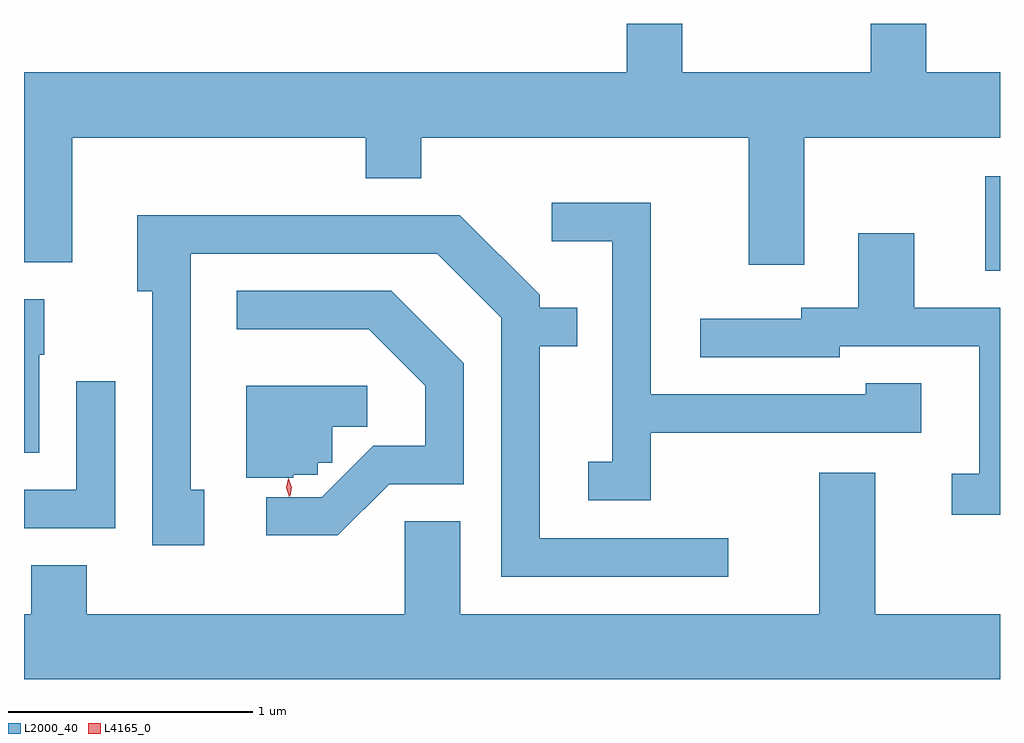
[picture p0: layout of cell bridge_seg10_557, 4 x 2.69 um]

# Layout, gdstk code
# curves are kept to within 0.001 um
import gdstk
lib = gdstk.Library(unit=1e-6, precision=1e-09)
def R(c, l, rs):  # rectangles x0, y0, x1, y1
    for r in rs: c.add(gdstk.rectangle(r[:2], r[2:], *l))
def P(c, l, *ps):  # polygons
    for p in ps: c.add(gdstk.Polygon(p, *l))
L2000_40 = (2000, 40)
L4165_0 = (4165, 0)

bridge_seg10_557 = lib.new_cell('bridge_seg10_557')
R(bridge_seg10_557, L2000_40, [(833.951,2193.291,834.011,2193.679)])
P(bridge_seg10_557, L2000_40, [(833.209,2193.836),(834.011,2193.836),(834.011,2194.104),(833.709,2194.104),(833.709,2194.304),(833.481,2194.304),(833.481,2194.104),(832.709,2194.104),(832.709,2194.304),(832.481,2194.304),(832.481,2194.104),(830.011,2194.104),(830.011,2193.326),(830.209,2193.326),(830.209,2193.836),(831.411,2193.836),(831.411,2193.671),(831.639,2193.671),(831.639,2193.836),(832.981,2193.836),(832.981,2193.316),(833.209,2193.316)],
  [(832.579,2192.626),(833.689,2192.626),(833.689,2192.829),(833.461,2192.829),(833.461,2192.784),(832.579,2192.784),(832.579,2193.569),(832.173,2193.569),(832.173,2193.411),(832.421,2193.411),(832.421,2192.509),(832.323,2192.509),(832.323,2192.351),(832.579,2192.351)],
  [(832.898,2192.194),(832.124,2192.194),(832.124,2192.981),(832.278,2192.981),(832.278,2193.139),(832.124,2193.139),(832.124,2193.192),(831.797,2193.519),(830.476,2193.519),(830.476,2193.206),(830.536,2193.206),(830.536,2192.166),(830.749,2192.166),(830.749,2192.394),(830.694,2192.394),(830.694,2193.361),(831.704,2193.361),(831.966,2193.099),(831.966,2192.036),(832.898,2192.036)],
  [(834.011,2193.139),(833.659,2193.139),(833.659,2193.444),(833.431,2193.444),(833.431,2193.139),(833.196,2193.139),(833.196,2193.094),(832.783,2193.094),(832.783,2192.936),(833.354,2192.936),(833.354,2192.981),(833.926,2192.981),(833.926,2192.459),(833.813,2192.459),(833.813,2192.291),(834.011,2192.291)],
  [(831.507,2192.416),(831.814,2192.416),(831.814,2192.912),(831.517,2193.209),(830.883,2193.209),(830.883,2193.051),(831.424,2193.051),(831.656,2192.819),(831.656,2192.574),(831.443,2192.573),(831.232,2192.362),(831.003,2192.362),(831.003,2192.206),(831.297,2192.206)],
  [(830.074,2192.946),(830.094,2192.946),(830.094,2193.174),(830.011,2193.174),(830.011,2192.546),(830.074,2192.546)],
  [(830.384,2192.838),(830.226,2192.838),(830.226,2192.394),(830.011,2192.394),(830.011,2192.236),(830.384,2192.236)],
  [(831.115,2192.455),(831.215,2192.455),(831.215,2192.505),(831.275,2192.505),(831.275,2192.652),(831.418,2192.652),(831.418,2192.819),(830.921,2192.819),(830.921,2192.443),(831.115,2192.443)],
  [(834.011,2191.884),(833.499,2191.884),(833.499,2192.464),(833.271,2192.464),(833.271,2191.884),(831.799,2191.884),(831.799,2192.264),(831.571,2192.264),(831.571,2191.884),(830.269,2191.884),(830.269,2192.084),(830.041,2192.084),(830.041,2191.884),(830.011,2191.884),(830.011,2191.616),(834.011,2191.616)])
P(bridge_seg10_557, L4165_0, [(831.098,2192.365),(831.086,2192.402),(831.093,2192.439),(831.093,2192.44),(831.094,2192.439),(831.106,2192.403),(831.099,2192.365),(831.099,2192.365)],
  [(831.102,2192.368),(831.102,2192.368),(831.089,2192.402),(831.095,2192.437),(831.096,2192.438),(831.096,2192.437),(831.109,2192.404),(831.103,2192.368)])

lib.write_gds('bridge_seg10_557.gds')
